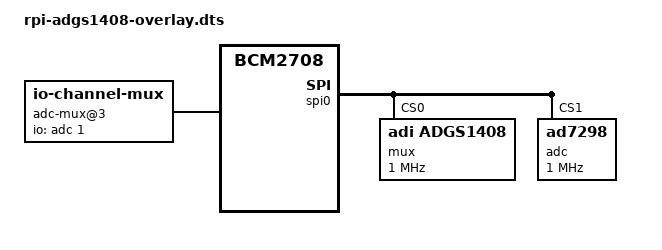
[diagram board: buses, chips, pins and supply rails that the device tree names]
/dts-v1/;
/plugin/;

#include "../../../include/dt-bindings/mux/mux.h"

/ {
	compatible = "brcm,bcm2708";

	fragment@0 {
		target-path = "/";
		__overlay__ {
			adc-mux@3 {
				compatible = "io-channel-mux";
				io-channels = <&adc 1>;
				io-channel-names = "parent";
				mux-controls = <&mux>;

				channels = "out_a0", "out_a1", "test0", "test1",
				"out_b0", "out_b1", "testb0", "testb1";
			};
		};
	};

	fragment@1 {
		target = <&spi0>;
		__overlay__ {
			#address-cells = <1>;
			#size-cells = <0>;
			status = "okay";

			mux: mux-controller@2 {
				compatible = "adi,adgs1408";
				reg = <0>;
				spi-max-frequency = <1000000>;
				#mux-control-cells = <0>;
			};

			adc: ad7298@3 {
				compatible = "ad7298";
				#io-channel-cells = <1>;
				spi-max-frequency = <1000000>;
				reg = <1>;
			};
		};
	};
};
